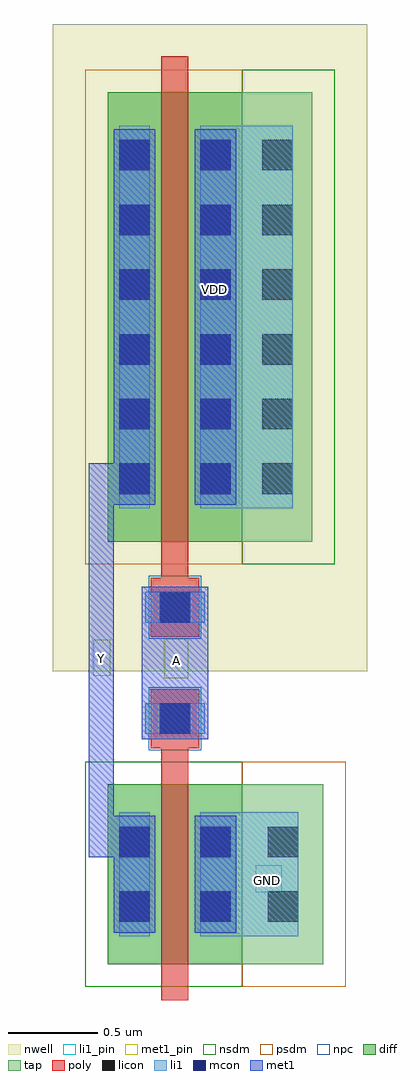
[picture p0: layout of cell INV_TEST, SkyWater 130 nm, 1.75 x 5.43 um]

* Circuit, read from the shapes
.subckt INV_TEST A GND VDD Y
XM1 GND A Y GND sky130_fd_pr__nfet_01v8 w=1 l=0.15
XM2 VDD A Y VDD sky130_fd_pr__pfet_01v8 w=2.5 l=0.15
.ends

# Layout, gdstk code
import gdstk
lib = gdstk.Library(unit=1e-6, precision=1e-09)
def R(c, l, rs):  # rectangles x0, y0, x1, y1
    for r in rs: c.add(gdstk.rectangle(r[:2], r[2:], *l))
def A(c, l, x, y, w, h, nx, ny, dx, dy):  # array of equal rectangles
    R(c, l, [(x+i*dx, y+j*dy, x+i*dx+w, y+j*dy+h) for i in range(nx) for j in range(ny)])
nwell = (64, 20)
diff = (65, 20)
tap = (65, 44)
poly = (66, 20)
licon = (66, 44)
li1_pin = (67, 16)
li1 = (67, 20)
mcon = (67, 44)
met1_pin = (68, 16)
met1 = (68, 20)
nsdm = (93, 44)
psdm = (94, 20)
npc = (95, 20)

inv_test = lib.new_cell('INV_TEST')
R(inv_test, nwell, [(-0.305,1.63,1.445,5.23)])
R(inv_test, diff, [(0,0,0.75,1), (0,2.35,0.75,4.85)])
R(inv_test, tap, [(0.75,0,1.2,1), (0.75,2.35,1.14,4.85)])
R(inv_test, poly, [(0.3,-0.2,0.45,1.2), (0.24,1.2,0.51,1.53), (0.24,1.82,0.51,2.15), (0.3,2.15,0.45,5.05)])
A(inv_test, licon, 0.065, 2.615, 0.17, 0.17, 1, 6, 0, 0.36)
A(inv_test, licon, 0.515, 2.615, 0.17, 0.17, 1, 6, 0, 0.36)
A(inv_test, licon, 0.86, 2.615, 0.17, 0.17, 1, 6, 0, 0.36)
R(inv_test, licon, [(0.065,0.235,0.235,0.405), (0.515,0.235,0.685,0.405), (0.89,0.235,1.06,0.405), (0.065,0.595,0.235,0.765), (0.515,0.595,0.685,0.765), (0.89,0.595,1.06,0.765), (0.29,1.28,0.46,1.45), (0.29,1.9,0.46,2.07)])
R(inv_test, li1_pin, [(0.825,0.4,0.97,0.55)])
R(inv_test, li1, [(0.065,0.155,0.235,0.845), (0.515,0.155,1.06,0.845), (0.515,0.155,0.685,0.845), (0.89,0.155,1.06,0.845), (0.21,1.28,0.54,1.45), (0.21,1.9,0.54,2.07), (0.065,2.535,0.235,4.665), (0.515,2.535,1.03,4.665), (0.515,2.535,0.685,4.665), (0.86,2.535,1.03,4.665)])
A(inv_test, mcon, 0.065, 2.615, 0.17, 0.17, 1, 6, 0, 0.36)
A(inv_test, mcon, 0.515, 2.615, 0.17, 0.17, 1, 6, 0, 0.36)
R(inv_test, mcon, [(0.065,0.235,0.235,0.405), (0.515,0.235,0.685,0.405), (0.065,0.595,0.235,0.765), (0.515,0.595,0.685,0.765), (0.29,1.28,0.46,1.45), (0.29,1.9,0.46,2.07)])
R(inv_test, met1_pin, [(0.315,1.59,0.45,1.81), (-0.08,1.605,0.015,1.805), (0.535,3.67,0.65,3.83)])
R(inv_test, met1, [(0.035,0.175,0.265,0.825), (0.485,0.175,0.715,0.825), (-0.105,0.595,0.035,2.785), (0.19,1.25,0.56,2.1), (0.192,1.25,0.558,1.48), (0.192,1.87,0.558,2.1), (0.035,2.555,0.265,4.645), (0.485,2.555,0.715,4.645)])
R(inv_test, nsdm, [(-0.125,-0.125,0.75,1.125), (0.75,2.225,1.265,4.975)])
R(inv_test, psdm, [(0.75,-0.125,1.325,1.125), (-0.125,2.225,0.75,4.975)])
R(inv_test, npc, [(0.23,1.19,0.52,1.54), (0.23,1.81,0.52,2.16)])
inv_test.add(gdstk.Label('A', (0.385,1.69), layer=68, texttype=5))
inv_test.add(gdstk.Label('Y', (-0.035,1.7), layer=68, texttype=5))
inv_test.add(gdstk.Label('VDD', (0.595,3.755), layer=68, texttype=5))
inv_test.add(gdstk.Label('GND', (0.89,0.465), layer=67, texttype=5))

lib.write_gds('INV_TEST.gds')
